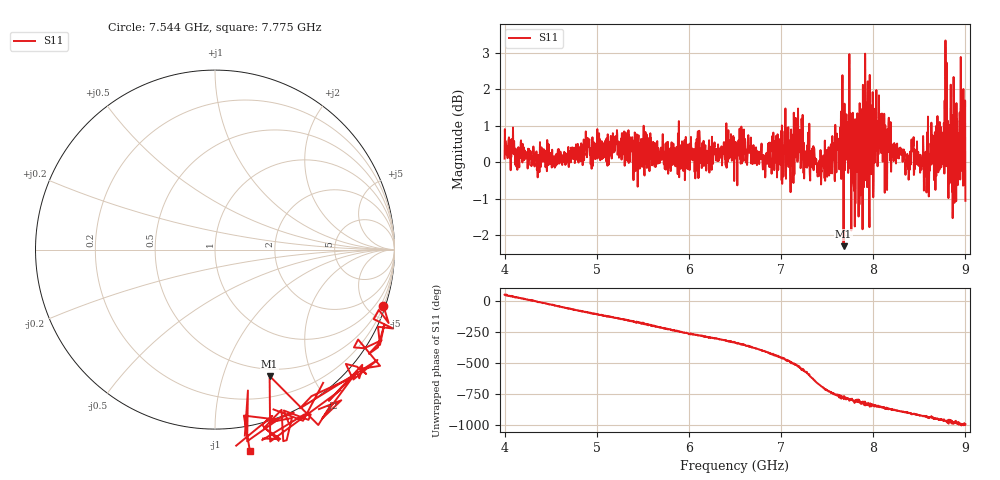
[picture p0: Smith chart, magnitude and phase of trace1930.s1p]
! Created with skrf 1.8.0 (http://scikit-rf.org).
# Hz S RI R 50.0
!freq ReS11 ImS11
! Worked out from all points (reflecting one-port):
!   1601 points, 4 GHz to 9 GHz, reference 50 ohm
!   lowest |S11| = -2.3 dB at 7.678 GHz (marker M1), VSWR 7.59, Z = 21 - j71.9 ohm
!   phase of S11 starts at 52 deg and turns -1049 deg over the sweep
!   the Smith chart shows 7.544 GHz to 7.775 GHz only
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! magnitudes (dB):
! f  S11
! 4 GHz  0.1
! 4.625 GHz  -0.1
! 5.25 GHz  0.2
! 5.875 GHz  0.3
! 6.5 GHz  0.5
! 6.825 GHz  0.0
! 7.125 GHz  0.3
! 7.209 GHz  0.3
! 7.262 GHz  0.1
! 7.416 GHz  0.0
! 7.678 GHz  -2.3
! 7.75 GHz  0.1
! 7.784 GHz  -0.3
! 7.834 GHz  1.1
! 7.872 GHz  0.9
! 7.928 GHz  0.4
! 7.981 GHz  -0.3
! 8.05 GHz  1.1
! 8.375 GHz  -0.1
! 8.425 GHz  0.4
! 8.581 GHz  -0.4
! 8.644 GHz  0.7
! 8.738 GHz  -0.1
! 8.784 GHz  3.3
! 8.875 GHz  1.1
! 8.956 GHz  0.4
! 8.972 GHz  0.7
! 9 GHz  -1.1
